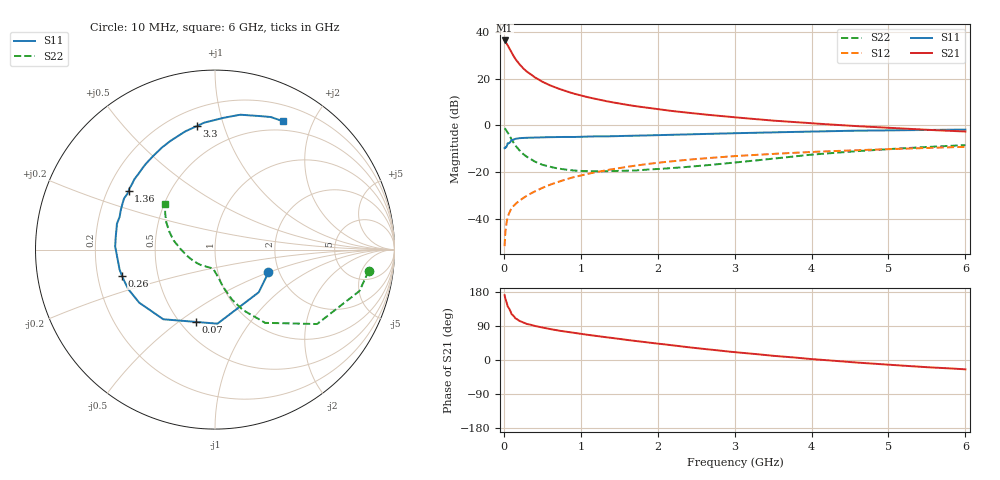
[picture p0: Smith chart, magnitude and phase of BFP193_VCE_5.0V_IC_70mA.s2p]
! Infineon Technologies  Discrete & RF Semiconductors
! BFP193
! VCE = 5.0 V,  IC =  70 mA
! Common Emitter S-Parameters:  Jan 2016
# GHz  S  MA  R  50
!  f  S11  S21  S12  S22
! GHz  MAG  ANG  MAG  ANG  MAG  ANG  MAG  ANG
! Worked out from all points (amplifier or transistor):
!   210 points, 10 MHz to 6 GHz, reference 50 ohm
!   highest |S21| = 36.3 dB at 10 MHz (marker M1)
!   |S21| within 3 dB of that: start of sweep to 65.1 MHz
!   unconditionally stable (mu >= 1): 465.4 MHz to 3.986 GHz
!   at 185 MHz: K = 0.74, MSG = 29.8 dB, |S12| = -32.7 dB
!   at 1.52 GHz: K = 1.08, MAG = 12.0 dB, |S12| = -18.2 dB
!   at 6 GHz: K = 0.94, MSG = 3.3 dB, |S12| = -9.2 dB
!   S11 on the Smith chart (normalised r, x): 10 MHz: 1.76, -0.50; 70 MHz: 0.60, -0.58; 260 MHz: 0.31, -0.13; 1.36 GHz: 0.29, +0.29; 3.3 GHz: 0.31, +0.81; 6 GHz: 0.38, +1.59
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0.01  0.3238 -23.2  65.38 171.0  0.0026 80.8  0.864 -8.0
0.02  0.3405 -44.3  62.29 161.6  0.0052 75.7  0.8372 -16.0
0.05  0.4129 -88.1  51.56 141.5  0.011 64.5  0.7037 -36.1
0.07  0.4169 -104.9  44.65 135.2  0.0133 60.9  0.6124 -42.3
0.1  0.4835 -126.6  35.77 121.4  0.0169 57.4  0.4948 -55.6
0.15  0.5155 -145.0  26.22 110.1  0.0206 56.3  0.3698 -65.3
0.2  0.5311 -155.5  20.51 103.4  0.0243 57.9  0.2947 -71.2
0.26  0.5381 -163.9  16.09 98.0  0.0283 60.0  0.2367 -75.5
0.3  0.5431 -168.1  14.04 95.1  0.0312 61.9  0.2119 -77.7
0.4  0.5469 -176.1  10.69 90.0  0.0384 63.6  0.1685 -81.7
0.5  0.5564 178.2  8.568 85.6  0.0456 64.9  0.1434 -85.2
0.6  0.5577 173.2  7.174 81.7  0.0536 65.7  0.1293 -88.2
0.7  0.5597 168.7  6.18 78.0  0.061 65.8  0.1194 -91.0
0.88  0.5623 161.9  4.93 72.6  0.0756 64.8  0.1091 -95.9
1.02  0.57 156.7  4.273 68.5  0.0858 64.1  0.1054 -99.9
1.36  0.5828 145.6  3.22 59.4  0.1117 60.7  0.1045 -110.4
2.02  0.6172 127.2  2.19 42.8  0.1592 52.4  0.1168 -133.5
3.1  0.6835 102.3  1.437 18.9  0.2244 38.2  0.1658 -170.9
3.3  0.6953 98.5  1.346 15.2  0.2347 35.7  0.1789 -176.6
4.1  0.7406 84.9  1.08 1.0  0.2738 26.0  0.2431 165.5
5.1  0.7834 71.9  0.867 -13.9  0.3134 14.9  0.3165 149.4
6  0.8093 62.1  0.737 -24.6  0.3469 5.2  0.3771 137.5
